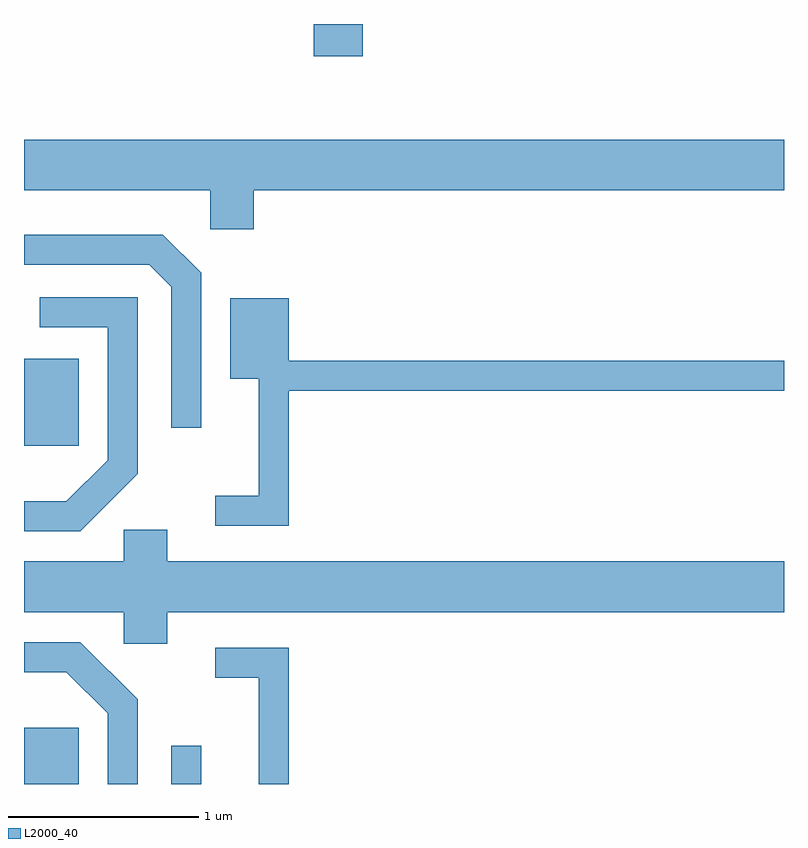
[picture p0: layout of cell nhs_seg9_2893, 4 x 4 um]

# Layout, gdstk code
import gdstk
lib = gdstk.Library(unit=1e-6, precision=1e-09)
def R(c, l, rs):  # rectangles x0, y0, x1, y1
    for r in rs: c.add(gdstk.rectangle(r[:2], r[2:], *l))
def P(c, l, *ps):  # polygons
    for p in ps: c.add(gdstk.Polygon(p, *l))
L2000_40 = (2000, 40)

nhs_seg9_2893 = lib.new_cell('nhs_seg9_2893')
R(nhs_seg9_2893, L2000_40, [(269.611,2026.432,269.899,2026.729), (270.386,2026.432,270.544,2026.633), (269.611,2028.211,269.899,2028.669), (271.136,2030.261,271.394,2030.432)])
P(nhs_seg9_2893, L2000_40, [(270.819,2029.556),(273.611,2029.556),(273.611,2029.824),(269.611,2029.824),(269.611,2029.556),(270.591,2029.556),(270.591,2029.351),(270.819,2029.351)],
  [(270.544,2029.122),(270.342,2029.324),(269.611,2029.324),(269.611,2029.166),(270.269,2029.166),(270.386,2029.049),(270.386,2028.308),(270.544,2028.308)],
  [(270.209,2028.064),(270.209,2028.994),(269.693,2028.994),(269.693,2028.836),(270.051,2028.836),(270.051,2028.137),(269.834,2027.919),(269.611,2027.919),(269.611,2027.761),(269.907,2027.761)],
  [(271.004,2028.501),(273.611,2028.501),(273.611,2028.659),(271.004,2028.659),(271.004,2028.989),(270.696,2028.989),(270.696,2028.566),(270.846,2028.566),(270.846,2027.949),(270.618,2027.949),(270.618,2027.791),(271.004,2027.791)],
  [(270.364,2027.336),(273.611,2027.336),(273.611,2027.604),(270.364,2027.604),(270.364,2027.769),(270.136,2027.769),(270.136,2027.604),(269.611,2027.604),(269.611,2027.336),(270.136,2027.336),(270.136,2027.171),(270.364,2027.171)],
  [(270.209,2026.877),(269.907,2027.179),(269.611,2027.179),(269.611,2027.021),(269.834,2027.021),(270.051,2026.804),(270.051,2026.432),(270.209,2026.432)],
  [(271.004,2027.149),(270.618,2027.149),(270.618,2026.991),(270.846,2026.991),(270.846,2026.432),(271.004,2026.432)])

lib.write_gds('nhs_seg9_2893.gds')
